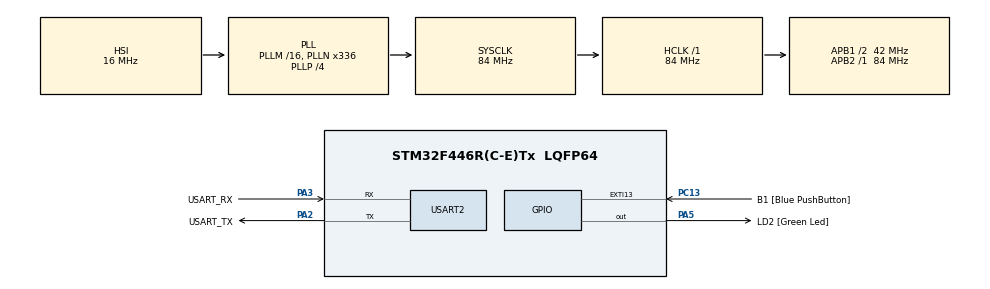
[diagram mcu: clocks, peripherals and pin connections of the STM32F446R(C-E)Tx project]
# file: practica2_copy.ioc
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Mcu.Family=STM32F4
Mcu.Name=STM32F446R(C-E)Tx
Mcu.Package=LQFP64
NVIC.PriorityGroup=NVIC_PRIORITYGROUP_0
PA13.GPIO_Label=TMS
PA13.Mode=Serial_Wire
PA13.Signal=SYS_JTMS-SWDIO
PA14.GPIO_Label=TCK
PA14.Mode=Serial_Wire
PA14.Signal=SYS_JTCK-SWCLK
PA2.GPIO_Label=USART_TX
PA2.Mode=Asynchronous
PA2.Signal=USART2_TX
PA3.GPIO_Label=USART_RX
PA3.Mode=Asynchronous
PA3.Signal=USART2_RX
PA5.GPIO_Label=LD2 [Green Led]
PA5.Signal=GPIO_Output
PB3.GPIO_Label=SWO
PB3.Signal=SYS_JTDO-SWO
PC13.GPIO_Label=B1 [Blue PushButton]
PC13.GPIO_ModeDefaultEXTI=GPIO_MODE_IT_FALLING
PC13.Signal=GPXTI13
PC14-OSC32_IN.Mode=LSE-External-Oscillator
PC14-OSC32_IN.Signal=RCC_OSC32_IN
PC15-OSC32_OUT.Mode=LSE-External-Oscillator
PC15-OSC32_OUT.Signal=RCC_OSC32_OUT
PH0-OSC_IN.Mode=HSE-External-Oscillator
PH0-OSC_IN.Signal=RCC_OSC_IN
PH1-OSC_OUT.Mode=HSE-External-Oscillator
PH1-OSC_OUT.Signal=RCC_OSC_OUT
ProjectManager.HeapSize=0x200
ProjectManager.StackSize=0x400
ProjectManager.TargetToolchain=STM32CubeIDE
RCC.48MHZClocksFreq_Value=84000000
RCC.AHBFreq_Value=84000000
RCC.APB1CLKDivider=RCC_HCLK_DIV2
RCC.APB1Freq_Value=42000000
RCC.APB1TimFreq_Value=84000000
RCC.APB2Freq_Value=84000000
RCC.APB2TimFreq_Value=84000000
RCC.CortexFreq_Value=84000000
RCC.FLatency-AdvancedSettings=FLASH_LATENCY_2
RCC.HCLKFreq_Value=84000000
RCC.HSE_VALUE=8000000
RCC.HSI_VALUE=16000000
RCC.PLLN=336
RCC.PLLP=RCC_PLLP_DIV4
RCC.SYSCLKFreq_VALUE=84000000
RCC.SYSCLKSource=RCC_SYSCLKSOURCE_PLLCLK
RCC.USBFreq_Value=168000000
RCC.VCOOutputFreq_Value=336000000
USART2.VirtualMode=VM_ASYNC
board=NUCLEO-F446RE

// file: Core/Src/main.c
/* USER CODE BEGIN Header */
/**
  ******************************************************************************
  * @file           : main.c
  * @brief          : Main program body
  ******************************************************************************
  * @attention
  *
  * Copyright (c) 2025 STMicroelectronics.
  * All rights reserved.
  *
  * This software is licensed under terms that can be found in the LICENSE file
  * in the root directory of this software component.
  * If no LICENSE file comes with this software, it is provided AS-IS.
  *
  ******************************************************************************
  */
/* USER CODE END Header */
#include "main.h"

UART_HandleTypeDef huart2;

void SystemClock_Config(void);
static void MX_GPIO_Init(void);
static void MX_USART2_UART_Init(void);

/* USER CODE BEGIN 0 */
void delayInit(delay_t *delay, tick_t duration) {
	delay->duration = duration;
	delay->running = false;
}

bool_t delayRead(delay_t *delay){
	if (delay->running == false) {
		delay->startTime = HAL_GetTick();
		delay->running = true;
		return false;
	}

	if (HAL_GetTick() - delay->startTime >= delay->duration) {
		delay->running = false;
		return true;
	}

	return false;
}

delayWrite(delay_t *delay, tick_t duration) {
	delay->duration = duration;
	delay->running = false;
}

/* USER CODE END 0 */

int main(void)
{

  /* MCU Configuration--------------------------------------------------------*/

  /* Reset of all peripherals, Initializes the Flash interface and the Systick. */
  HAL_Init();

  /* Configure the system clock */
  SystemClock_Config();

  /* Initialize all configured peripherals */
  MX_GPIO_Init();
  MX_USART2_UART_Init();
  /* USER CODE BEGIN 2 */

  delay_t miDelay;
  uint32_t tiempos[] = {1000, 200, 100};
  uint8_t cicloTiempoActual = 0;
  uint8_t tiempoArray = 0;
  delayInit(&miDelay, tiempos[0]/2);

  /* USER CODE END 2 */

  /* Infinite loop */
  while (1)
  {

    /* USER CODE BEGIN 3 */
	  if (delayRead(&miDelay)) {
		  HAL_GPIO_TogglePin(LD2_GPIO_Port, LD2_Pin);
		  cicloTiempoActual++;

		  if (cicloTiempoActual >= 10) {
			 cicloTiempoActual = 0;
			 tiempoArray++;

			 if (tiempoArray >= 3) {
				 tiempoArray = 0;
			 }

			 delayWrite(&miDelay, tiempos[tiempoArray]/2);
		  }

	  }

  }
  /* USER CODE END 3 */
}

void SystemClock_Config(void)
{
  RCC_OscInitTypeDef RCC_OscInitStruct = {0};
  RCC_ClkInitTypeDef RCC_ClkInitStruct = {0};

  /** Configure the main internal regulator output voltage
  */
  __HAL_RCC_PWR_CLK_ENABLE();
  __HAL_PWR_VOLTAGESCALING_CONFIG(PWR_REGULATOR_VOLTAGE_SCALE3);

  /** Initializes the RCC Oscillators according to the specified parameters
  * in the RCC_OscInitTypeDef structure.
  */
  RCC_OscInitStruct.OscillatorType = RCC_OSCILLATORTYPE_HSI;
  RCC_OscInitStruct.HSIState = RCC_HSI_ON;
  RCC_OscInitStruct.HSICalibrationValue = RCC_HSICALIBRATION_DEFAULT;
  RCC_OscInitStruct.PLL.PLLState = RCC_PLL_ON;
  RCC_OscInitStruct.PLL.PLLSource = RCC_PLLSOURCE_HSI;
  RCC_OscInitStruct.PLL.PLLM = 16;
  RCC_OscInitStruct.PLL.PLLN = 336;
  RCC_OscInitStruct.PLL.PLLP = RCC_PLLP_DIV4;
  RCC_OscInitStruct.PLL.PLLQ = 2;
  RCC_OscInitStruct.PLL.PLLR = 2;
  if (HAL_RCC_OscConfig(&RCC_OscInitStruct) != HAL_OK)
  {
    Error_Handler();
  }

  /** Initializes the CPU, AHB and APB buses clocks
  */
  RCC_ClkInitStruct.ClockType = RCC_CLOCKTYPE_HCLK|RCC_CLOCKTYPE_SYSCLK
                              |RCC_CLOCKTYPE_PCLK1|RCC_CLOCKTYPE_PCLK2;
  RCC_ClkInitStruct.SYSCLKSource = RCC_SYSCLKSOURCE_PLLCLK;
  RCC_ClkInitStruct.AHBCLKDivider = RCC_SYSCLK_DIV1;
  RCC_ClkInitStruct.APB1CLKDivider = RCC_HCLK_DIV2;
  RCC_ClkInitStruct.APB2CLKDivider = RCC_HCLK_DIV1;

  if (HAL_RCC_ClockConfig(&RCC_ClkInitStruct, FLASH_LATENCY_2) != HAL_OK)
  {
    Error_Handler();
  }
}

static void MX_USART2_UART_Init(void)
{

  huart2.Instance = USART2;
  huart2.Init.BaudRate = 115200;
  huart2.Init.WordLength = UART_WORDLENGTH_8B;
  huart2.Init.StopBits = UART_STOPBITS_1;
  huart2.Init.Parity = UART_PARITY_NONE;
  huart2.Init.Mode = UART_MODE_TX_RX;
  huart2.Init.HwFlowCtl = UART_HWCONTROL_NONE;
  huart2.Init.OverSampling = UART_OVERSAMPLING_16;
  if (HAL_UART_Init(&huart2) != HAL_OK)
  {
    Error_Handler();
  }

}

static void MX_GPIO_Init(void)
{
  GPIO_InitTypeDef GPIO_InitStruct = {0};

  /* GPIO Ports Clock Enable */
  __HAL_RCC_GPIOC_CLK_ENABLE();
  __HAL_RCC_GPIOH_CLK_ENABLE();
  __HAL_RCC_GPIOA_CLK_ENABLE();
  __HAL_RCC_GPIOB_CLK_ENABLE();

  /*Configure GPIO pin Output Level */
  HAL_GPIO_WritePin(LD2_GPIO_Port, LD2_Pin, GPIO_PIN_RESET);

  /*Configure GPIO pin : B1_Pin */
  GPIO_InitStruct.Pin = B1_Pin;
  GPIO_InitStruct.Mode = GPIO_MODE_IT_FALLING;
  GPIO_InitStruct.Pull = GPIO_NOPULL;
  HAL_GPIO_Init(B1_GPIO_Port, &GPIO_InitStruct);

  /*Configure GPIO pin : LD2_Pin */
  GPIO_InitStruct.Pin = LD2_Pin;
  GPIO_InitStruct.Mode = GPIO_MODE_OUTPUT_PP;
  GPIO_InitStruct.Pull = GPIO_NOPULL;
  GPIO_InitStruct.Speed = GPIO_SPEED_FREQ_LOW;
  HAL_GPIO_Init(LD2_GPIO_Port, &GPIO_InitStruct);

}

void Error_Handler(void)
{
  __disable_irq();
  while (1)
  {
  }
}
